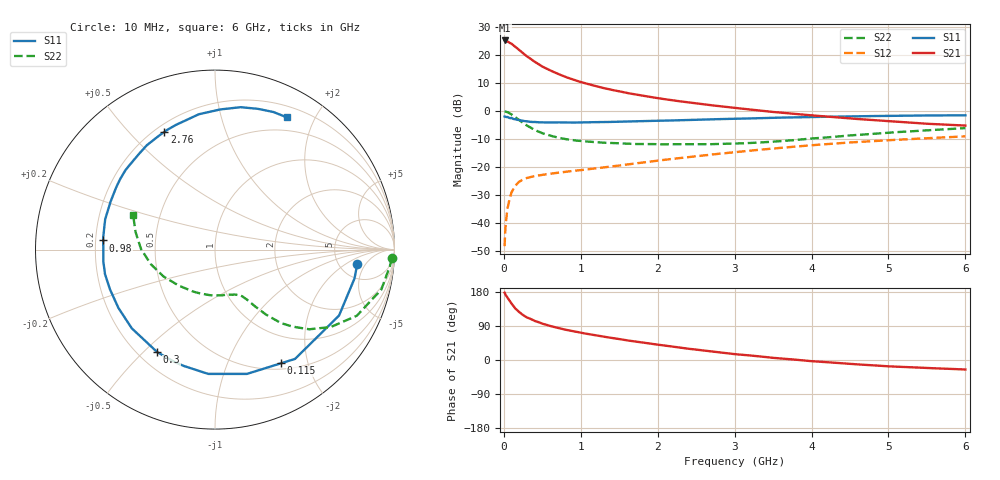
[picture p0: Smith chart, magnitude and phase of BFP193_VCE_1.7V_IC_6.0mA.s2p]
! Infineon Technologies  Discrete & RF Semiconductors
! BFP193
! VCE = 1.7 V,  IC =  6.0 mA
! Common Emitter S-Parameters:  Jan 2016
# GHz  S  MA  R  50
!  f  S11  S21  S12  S22
! GHz  MAG  ANG  MAG  ANG  MAG  ANG  MAG  ANG
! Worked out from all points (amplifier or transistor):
!   210 points, 10 MHz to 6 GHz, reference 50 ohm
!   highest |S21| = 25.1 dB at 10 MHz (marker M1)
!   |S21| within 3 dB of that: start of sweep to 182.9 MHz
!   unconditionally stable (mu >= 1): 1.192 GHz to 3.696 GHz
!   at 185 MHz: K = 0.24, MSG = 23.9 dB, |S12| = -25.6 dB
!   at 1.52 GHz: K = 1.09, MAG = 11.3 dB, |S12| = -19.4 dB
!   at 6 GHz: K = 0.91, MSG = 1.9 dB, |S12| = -9.0 dB
!   S11 on the Smith chart (normalised r, x): 10 MHz: 7.34, -3.29; 115 MHz: 0.58, -1.58; 300 MHz: 0.27, -0.55; 980 MHz: 0.23, +0.04; 2.76 GHz: 0.24, +0.63; 6 GHz: 0.33, +1.63
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0.01  0.7966 -5.9  18.09 177.5  0.0039 89.4  0.9853 -2.8
0.02  0.7937 -11.7  17.77 172.8  0.0079 83.2  0.9788 -5.4
0.05  0.7827 -28.0  17.32 163.2  0.0189 76.3  0.9531 -13.5
0.1  0.7548 -53.8  15.82 148.6  0.0354 64.2  0.872 -25.0
0.115  0.7319 -60.0  15.18 145.1  0.0387 60.8  0.8408 -27.5
0.15  0.7151 -75.6  13.95 135.7  0.0468 54.9  0.7747 -33.9
0.2  0.6936 -93.1  12.28 126.3  0.0549 48.6  0.6878 -40.2
0.26  0.6652 -110.2  10.42 117.2  0.061 42.8  0.599 -45.3
0.3  0.6557 -119.4  9.432 112.3  0.0641 40.5  0.5513 -48.0
0.4  0.6382 -136.6  7.563 103.2  0.0692 36.5  0.4598 -51.9
0.5  0.6287 -148.9  6.196 95.9  0.0729 34.7  0.4023 -54.2
0.6  0.6257 -159.4  5.289 89.7  0.0763 34.1  0.364 -55.7
0.7  0.6278 -167.5  4.609 84.5  0.0791 34.5  0.3364 -57.1
0.98  0.6252 175.3  3.35 72.7  0.0877 36.2  0.2935 -60.8
1.02  0.6267 173.1  3.226 71.2  0.0889 36.5  0.29 -61.5
1.4  0.6398 156.0  2.383 58.3  0.1027 39.2  0.27 -68.8
2.02  0.6703 134.6  1.679 40.0  0.1312 41.7  0.2557 -84.6
2.76  0.7145 113.3  1.239 21.2  0.171 40.2  0.2578 -108.7
3.1  0.7321 105.3  1.1 13.8  0.1909 38.3  0.2655 -121.2
4.1  0.7853 86.2  0.816 -4.4  0.2512 30.1  0.3305 -155.8
5.1  0.8216 71.9  0.646 -17.5  0.3068 19.4  0.4194 176.8
6  0.8384 61.6  0.55 -25.1  0.3532 9.1  0.496 157.0
